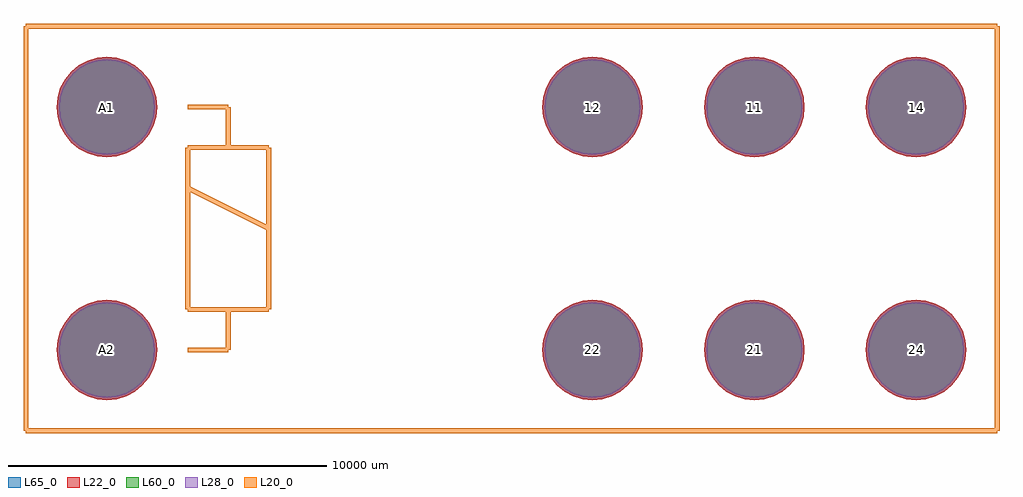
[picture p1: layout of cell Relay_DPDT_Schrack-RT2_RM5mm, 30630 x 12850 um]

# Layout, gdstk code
import gdstk
lib = gdstk.Library(unit=1e-6, precision=1e-09)
def P(c, l, *ps):  # polygons
    for p in ps: c.add(gdstk.Polygon(p, *l))
L20_0 = (20, 0)
L22_0 = (22, 0)
L28_0 = (28, 0)
L60_0 = (60, 0)
L65_0 = (65, 0)

relay_dpdt_schrack_rt2_r = lib.new_cell('Relay_DPDT_Schrack-RT2_RM5mm')
P(relay_dpdt_schrack_rt2_r, L22_0, [(26974.87,7620),(26944.609,7927.242),(26854.99,8222.677),(26709.457,8494.951),(26513.601,8733.601),(26274.951,8929.457),(26002.677,9074.99),(25707.242,9164.609),(25400,9194.87),(25092.758,9164.609),(24797.323,9074.99),(24525.049,8929.457),(24286.399,8733.601),(24090.543,8494.951),(23945.01,8222.677),(23855.391,7927.242),(23825.13,7620),(23855.391,7312.758),(23945.01,7017.323),(24090.543,6745.049),(24286.399,6506.399),(24525.049,6310.543),(24797.323,6165.01),(25092.758,6075.391),(25400,6045.13),(25707.242,6075.391),(26002.677,6165.01),(26274.951,6310.543),(26513.601,6506.399),(26709.457,6745.049),(26854.99,7017.323),(26944.609,7312.758)],
  [(21894.87,7620),(21864.609,7927.242),(21774.99,8222.677),(21629.457,8494.951),(21433.601,8733.601),(21194.951,8929.457),(20922.677,9074.99),(20627.242,9164.609),(20320,9194.87),(20012.758,9164.609),(19717.323,9074.99),(19445.049,8929.457),(19206.399,8733.601),(19010.543,8494.951),(18865.01,8222.677),(18775.391,7927.242),(18745.13,7620),(18775.391,7312.758),(18865.01,7017.323),(19010.543,6745.049),(19206.399,6506.399),(19445.049,6310.543),(19717.323,6165.01),(20012.758,6075.391),(20320,6045.13),(20627.242,6075.391),(20922.677,6165.01),(21194.951,6310.543),(21433.601,6506.399),(21629.457,6745.049),(21774.99,7017.323),(21864.609,7312.758)],
  [(16814.87,7620),(16784.609,7927.242),(16694.99,8222.677),(16549.457,8494.951),(16353.601,8733.601),(16114.951,8929.457),(15842.677,9074.99),(15547.242,9164.609),(15240,9194.87),(14932.758,9164.609),(14637.323,9074.99),(14365.049,8929.457),(14126.399,8733.601),(13930.543,8494.951),(13785.01,8222.677),(13695.391,7927.242),(13665.13,7620),(13695.391,7312.758),(13785.01,7017.323),(13930.543,6745.049),(14126.399,6506.399),(14365.049,6310.543),(14637.323,6165.01),(14932.758,6075.391),(15240,6045.13),(15547.242,6075.391),(15842.677,6165.01),(16114.951,6310.543),(16353.601,6506.399),(16549.457,6745.049),(16694.99,7017.323),(16784.609,7312.758)],
  [(26974.87,0),(26944.609,307.242),(26854.99,602.677),(26709.457,874.951),(26513.601,1113.601),(26274.951,1309.457),(26002.677,1454.99),(25707.242,1544.609),(25400,1574.87),(25092.758,1544.609),(24797.323,1454.99),(24525.049,1309.457),(24286.399,1113.601),(24090.543,874.951),(23945.01,602.677),(23855.391,307.242),(23825.13,0),(23855.391,-307.242),(23945.01,-602.677),(24090.543,-874.951),(24286.399,-1113.601),(24525.049,-1309.457),(24797.323,-1454.99),(25092.758,-1544.609),(25400,-1574.87),(25707.242,-1544.609),(26002.677,-1454.99),(26274.951,-1309.457),(26513.601,-1113.601),(26709.457,-874.951),(26854.99,-602.677),(26944.609,-307.242)],
  [(21894.87,0),(21864.609,307.242),(21774.99,602.677),(21629.457,874.951),(21433.601,1113.601),(21194.951,1309.457),(20922.677,1454.99),(20627.242,1544.609),(20320,1574.87),(20012.758,1544.609),(19717.323,1454.99),(19445.049,1309.457),(19206.399,1113.601),(19010.543,874.951),(18865.01,602.677),(18775.391,307.242),(18745.13,0),(18775.391,-307.242),(18865.01,-602.677),(19010.543,-874.951),(19206.399,-1113.601),(19445.049,-1309.457),(19717.323,-1454.99),(20012.758,-1544.609),(20320,-1574.87),(20627.242,-1544.609),(20922.677,-1454.99),(21194.951,-1309.457),(21433.601,-1113.601),(21629.457,-874.951),(21774.99,-602.677),(21864.609,-307.242)],
  [(16814.87,0),(16784.609,307.242),(16694.99,602.677),(16549.457,874.951),(16353.601,1113.601),(16114.951,1309.457),(15842.677,1454.99),(15547.242,1544.609),(15240,1574.87),(14932.758,1544.609),(14637.323,1454.99),(14365.049,1309.457),(14126.399,1113.601),(13930.543,874.951),(13785.01,602.677),(13695.391,307.242),(13665.13,0),(13695.391,-307.242),(13785.01,-602.677),(13930.543,-874.951),(14126.399,-1113.601),(14365.049,-1309.457),(14637.323,-1454.99),(14932.758,-1544.609),(15240,-1574.87),(15547.242,-1544.609),(15842.677,-1454.99),(16114.951,-1309.457),(16353.601,-1113.601),(16549.457,-874.951),(16694.99,-602.677),(16784.609,-307.242)],
  [(1574.87,0),(1544.609,307.242),(1454.99,602.677),(1309.457,874.951),(1113.601,1113.601),(874.951,1309.457),(602.677,1454.99),(307.242,1544.609),(0,1574.87),(-307.242,1544.609),(-602.677,1454.99),(-874.951,1309.457),(-1113.601,1113.601),(-1309.457,874.951),(-1454.99,602.677),(-1544.609,307.242),(-1574.87,0),(-1544.609,-307.242),(-1454.99,-602.677),(-1309.457,-874.951),(-1113.601,-1113.601),(-874.951,-1309.457),(-602.677,-1454.99),(-307.242,-1544.609),(0,-1574.87),(307.242,-1544.609),(602.677,-1454.99),(874.951,-1309.457),(1113.601,-1113.601),(1309.457,-874.951),(1454.99,-602.677),(1544.609,-307.242)],
  [(1574.87,7620),(1544.609,7927.242),(1454.99,8222.677),(1309.457,8494.951),(1113.601,8733.601),(874.951,8929.457),(602.677,9074.99),(307.242,9164.609),(0,9194.87),(-307.242,9164.609),(-602.677,9074.99),(-874.951,8929.457),(-1113.601,8733.601),(-1309.457,8494.951),(-1454.99,8222.677),(-1544.609,7927.242),(-1574.87,7620),(-1544.609,7312.758),(-1454.99,7017.323),(-1309.457,6745.049),(-1113.601,6506.399),(-874.951,6310.543),(-602.677,6165.01),(-307.242,6075.391),(0,6045.13),(307.242,6075.391),(602.677,6165.01),(874.951,6310.543),(1113.601,6506.399),(1309.457,6745.049),(1454.99,7017.323),(1544.609,7312.758)])
P(relay_dpdt_schrack_rt2_r, L28_0, [(26899.87,7620),(26871.05,7912.61),(26785.699,8193.975),(26647.096,8453.283),(26460.568,8680.568),(26233.283,8867.096),(25973.975,9005.699),(25692.61,9091.05),(25400,9119.87),(25107.39,9091.05),(24826.025,9005.699),(24566.717,8867.096),(24339.432,8680.568),(24152.904,8453.283),(24014.301,8193.975),(23928.95,7912.61),(23900.13,7620),(23928.95,7327.39),(24014.301,7046.025),(24152.904,6786.717),(24339.432,6559.432),(24566.717,6372.904),(24826.025,6234.301),(25107.39,6148.95),(25400,6120.13),(25692.61,6148.95),(25973.975,6234.301),(26233.283,6372.904),(26460.568,6559.432),(26647.096,6786.717),(26785.699,7046.025),(26871.05,7327.39)],
  [(21819.87,7620),(21791.05,7912.61),(21705.699,8193.975),(21567.096,8453.283),(21380.568,8680.568),(21153.283,8867.096),(20893.975,9005.699),(20612.61,9091.05),(20320,9119.87),(20027.39,9091.05),(19746.025,9005.699),(19486.717,8867.096),(19259.432,8680.568),(19072.904,8453.283),(18934.301,8193.975),(18848.95,7912.61),(18820.13,7620),(18848.95,7327.39),(18934.301,7046.025),(19072.904,6786.717),(19259.432,6559.432),(19486.717,6372.904),(19746.025,6234.301),(20027.39,6148.95),(20320,6120.13),(20612.61,6148.95),(20893.975,6234.301),(21153.283,6372.904),(21380.568,6559.432),(21567.096,6786.717),(21705.699,7046.025),(21791.05,7327.39)],
  [(16739.87,7620),(16711.05,7912.61),(16625.699,8193.975),(16487.096,8453.283),(16300.568,8680.568),(16073.283,8867.096),(15813.975,9005.699),(15532.61,9091.05),(15240,9119.87),(14947.39,9091.05),(14666.025,9005.699),(14406.717,8867.096),(14179.432,8680.568),(13992.904,8453.283),(13854.301,8193.975),(13768.95,7912.61),(13740.13,7620),(13768.95,7327.39),(13854.301,7046.025),(13992.904,6786.717),(14179.432,6559.432),(14406.717,6372.904),(14666.025,6234.301),(14947.39,6148.95),(15240,6120.13),(15532.61,6148.95),(15813.975,6234.301),(16073.283,6372.904),(16300.568,6559.432),(16487.096,6786.717),(16625.699,7046.025),(16711.05,7327.39)],
  [(26899.87,0),(26871.05,292.61),(26785.699,573.975),(26647.096,833.283),(26460.568,1060.568),(26233.283,1247.096),(25973.975,1385.699),(25692.61,1471.05),(25400,1499.87),(25107.39,1471.05),(24826.025,1385.699),(24566.717,1247.096),(24339.432,1060.568),(24152.904,833.283),(24014.301,573.975),(23928.95,292.61),(23900.13,0),(23928.95,-292.61),(24014.301,-573.975),(24152.904,-833.283),(24339.432,-1060.568),(24566.717,-1247.096),(24826.025,-1385.699),(25107.39,-1471.05),(25400,-1499.87),(25692.61,-1471.05),(25973.975,-1385.699),(26233.283,-1247.096),(26460.568,-1060.568),(26647.096,-833.283),(26785.699,-573.975),(26871.05,-292.61)],
  [(21819.87,0),(21791.05,292.61),(21705.699,573.975),(21567.096,833.283),(21380.568,1060.568),(21153.283,1247.096),(20893.975,1385.699),(20612.61,1471.05),(20320,1499.87),(20027.39,1471.05),(19746.025,1385.699),(19486.717,1247.096),(19259.432,1060.568),(19072.904,833.283),(18934.301,573.975),(18848.95,292.61),(18820.13,0),(18848.95,-292.61),(18934.301,-573.975),(19072.904,-833.283),(19259.432,-1060.568),(19486.717,-1247.096),(19746.025,-1385.699),(20027.39,-1471.05),(20320,-1499.87),(20612.61,-1471.05),(20893.975,-1385.699),(21153.283,-1247.096),(21380.568,-1060.568),(21567.096,-833.283),(21705.699,-573.975),(21791.05,-292.61)],
  [(16739.87,0),(16711.05,292.61),(16625.699,573.975),(16487.096,833.283),(16300.568,1060.568),(16073.283,1247.096),(15813.975,1385.699),(15532.61,1471.05),(15240,1499.87),(14947.39,1471.05),(14666.025,1385.699),(14406.717,1247.096),(14179.432,1060.568),(13992.904,833.283),(13854.301,573.975),(13768.95,292.61),(13740.13,0),(13768.95,-292.61),(13854.301,-573.975),(13992.904,-833.283),(14179.432,-1060.568),(14406.717,-1247.096),(14666.025,-1385.699),(14947.39,-1471.05),(15240,-1499.87),(15532.61,-1471.05),(15813.975,-1385.699),(16073.283,-1247.096),(16300.568,-1060.568),(16487.096,-833.283),(16625.699,-573.975),(16711.05,-292.61)],
  [(1499.87,0),(1471.05,292.61),(1385.699,573.975),(1247.096,833.283),(1060.568,1060.568),(833.283,1247.096),(573.975,1385.699),(292.61,1471.05),(0,1499.87),(-292.61,1471.05),(-573.975,1385.699),(-833.283,1247.096),(-1060.568,1060.568),(-1247.096,833.283),(-1385.699,573.975),(-1471.05,292.61),(-1499.87,0),(-1471.05,-292.61),(-1385.699,-573.975),(-1247.096,-833.283),(-1060.568,-1060.568),(-833.283,-1247.096),(-573.975,-1385.699),(-292.61,-1471.05),(0,-1499.87),(292.61,-1471.05),(573.975,-1385.699),(833.283,-1247.096),(1060.568,-1060.568),(1247.096,-833.283),(1385.699,-573.975),(1471.05,-292.61)],
  [(1499.87,7620),(1471.05,7912.61),(1385.699,8193.975),(1247.096,8453.283),(1060.568,8680.568),(833.283,8867.096),(573.975,9005.699),(292.61,9091.05),(0,9119.87),(-292.61,9091.05),(-573.975,9005.699),(-833.283,8867.096),(-1060.568,8680.568),(-1247.096,8453.283),(-1385.699,8193.975),(-1471.05,7912.61),(-1499.87,7620),(-1471.05,7327.39),(-1385.699,7046.025),(-1247.096,6786.717),(-1060.568,6559.432),(-833.283,6372.904),(-573.975,6234.301),(-292.61,6148.95),(0,6120.13),(292.61,6148.95),(573.975,6234.301),(833.283,6372.904),(1060.568,6559.432),(1247.096,6786.717),(1385.699,7046.025),(1471.05,7327.39)])
P(relay_dpdt_schrack_rt2_r, L60_0, [(26899.87,7620),(26871.05,7912.61),(26785.699,8193.975),(26647.096,8453.283),(26460.568,8680.568),(26233.283,8867.096),(25973.975,9005.699),(25692.61,9091.05),(25400,9119.87),(25107.39,9091.05),(24826.025,9005.699),(24566.717,8867.096),(24339.432,8680.568),(24152.904,8453.283),(24014.301,8193.975),(23928.95,7912.61),(23900.13,7620),(23928.95,7327.39),(24014.301,7046.025),(24152.904,6786.717),(24339.432,6559.432),(24566.717,6372.904),(24826.025,6234.301),(25107.39,6148.95),(25400,6120.13),(25692.61,6148.95),(25973.975,6234.301),(26233.283,6372.904),(26460.568,6559.432),(26647.096,6786.717),(26785.699,7046.025),(26871.05,7327.39)],
  [(21819.87,7620),(21791.05,7912.61),(21705.699,8193.975),(21567.096,8453.283),(21380.568,8680.568),(21153.283,8867.096),(20893.975,9005.699),(20612.61,9091.05),(20320,9119.87),(20027.39,9091.05),(19746.025,9005.699),(19486.717,8867.096),(19259.432,8680.568),(19072.904,8453.283),(18934.301,8193.975),(18848.95,7912.61),(18820.13,7620),(18848.95,7327.39),(18934.301,7046.025),(19072.904,6786.717),(19259.432,6559.432),(19486.717,6372.904),(19746.025,6234.301),(20027.39,6148.95),(20320,6120.13),(20612.61,6148.95),(20893.975,6234.301),(21153.283,6372.904),(21380.568,6559.432),(21567.096,6786.717),(21705.699,7046.025),(21791.05,7327.39)],
  [(16739.87,7620),(16711.05,7912.61),(16625.699,8193.975),(16487.096,8453.283),(16300.568,8680.568),(16073.283,8867.096),(15813.975,9005.699),(15532.61,9091.05),(15240,9119.87),(14947.39,9091.05),(14666.025,9005.699),(14406.717,8867.096),(14179.432,8680.568),(13992.904,8453.283),(13854.301,8193.975),(13768.95,7912.61),(13740.13,7620),(13768.95,7327.39),(13854.301,7046.025),(13992.904,6786.717),(14179.432,6559.432),(14406.717,6372.904),(14666.025,6234.301),(14947.39,6148.95),(15240,6120.13),(15532.61,6148.95),(15813.975,6234.301),(16073.283,6372.904),(16300.568,6559.432),(16487.096,6786.717),(16625.699,7046.025),(16711.05,7327.39)],
  [(26899.87,0),(26871.05,292.61),(26785.699,573.975),(26647.096,833.283),(26460.568,1060.568),(26233.283,1247.096),(25973.975,1385.699),(25692.61,1471.05),(25400,1499.87),(25107.39,1471.05),(24826.025,1385.699),(24566.717,1247.096),(24339.432,1060.568),(24152.904,833.283),(24014.301,573.975),(23928.95,292.61),(23900.13,0),(23928.95,-292.61),(24014.301,-573.975),(24152.904,-833.283),(24339.432,-1060.568),(24566.717,-1247.096),(24826.025,-1385.699),(25107.39,-1471.05),(25400,-1499.87),(25692.61,-1471.05),(25973.975,-1385.699),(26233.283,-1247.096),(26460.568,-1060.568),(26647.096,-833.283),(26785.699,-573.975),(26871.05,-292.61)],
  [(21819.87,0),(21791.05,292.61),(21705.699,573.975),(21567.096,833.283),(21380.568,1060.568),(21153.283,1247.096),(20893.975,1385.699),(20612.61,1471.05),(20320,1499.87),(20027.39,1471.05),(19746.025,1385.699),(19486.717,1247.096),(19259.432,1060.568),(19072.904,833.283),(18934.301,573.975),(18848.95,292.61),(18820.13,0),(18848.95,-292.61),(18934.301,-573.975),(19072.904,-833.283),(19259.432,-1060.568),(19486.717,-1247.096),(19746.025,-1385.699),(20027.39,-1471.05),(20320,-1499.87),(20612.61,-1471.05),(20893.975,-1385.699),(21153.283,-1247.096),(21380.568,-1060.568),(21567.096,-833.283),(21705.699,-573.975),(21791.05,-292.61)],
  [(16739.87,0),(16711.05,292.61),(16625.699,573.975),(16487.096,833.283),(16300.568,1060.568),(16073.283,1247.096),(15813.975,1385.699),(15532.61,1471.05),(15240,1499.87),(14947.39,1471.05),(14666.025,1385.699),(14406.717,1247.096),(14179.432,1060.568),(13992.904,833.283),(13854.301,573.975),(13768.95,292.61),(13740.13,0),(13768.95,-292.61),(13854.301,-573.975),(13992.904,-833.283),(14179.432,-1060.568),(14406.717,-1247.096),(14666.025,-1385.699),(14947.39,-1471.05),(15240,-1499.87),(15532.61,-1471.05),(15813.975,-1385.699),(16073.283,-1247.096),(16300.568,-1060.568),(16487.096,-833.283),(16625.699,-573.975),(16711.05,-292.61)],
  [(1499.87,0),(1471.05,292.61),(1385.699,573.975),(1247.096,833.283),(1060.568,1060.568),(833.283,1247.096),(573.975,1385.699),(292.61,1471.05),(0,1499.87),(-292.61,1471.05),(-573.975,1385.699),(-833.283,1247.096),(-1060.568,1060.568),(-1247.096,833.283),(-1385.699,573.975),(-1471.05,292.61),(-1499.87,0),(-1471.05,-292.61),(-1385.699,-573.975),(-1247.096,-833.283),(-1060.568,-1060.568),(-833.283,-1247.096),(-573.975,-1385.699),(-292.61,-1471.05),(0,-1499.87),(292.61,-1471.05),(573.975,-1385.699),(833.283,-1247.096),(1060.568,-1060.568),(1247.096,-833.283),(1385.699,-573.975),(1471.05,-292.61)],
  [(1499.87,7620),(1471.05,7912.61),(1385.699,8193.975),(1247.096,8453.283),(1060.568,8680.568),(833.283,8867.096),(573.975,9005.699),(292.61,9091.05),(0,9119.87),(-292.61,9091.05),(-573.975,9005.699),(-833.283,8867.096),(-1060.568,8680.568),(-1247.096,8453.283),(-1385.699,8193.975),(-1471.05,7912.61),(-1499.87,7620),(-1471.05,7327.39),(-1385.699,7046.025),(-1247.096,6786.717),(-1060.568,6559.432),(-833.283,6372.904),(-573.975,6234.301),(-292.61,6148.95),(0,6120.13),(292.61,6148.95),(573.975,6234.301),(833.283,6372.904),(1060.568,6559.432),(1247.096,6786.717),(1385.699,7046.025),(1471.05,7327.39)])
P(relay_dpdt_schrack_rt2_r, L65_0, [(26974.87,7620),(26944.609,7927.242),(26854.99,8222.677),(26709.457,8494.951),(26513.601,8733.601),(26274.951,8929.457),(26002.677,9074.99),(25707.242,9164.609),(25400,9194.87),(25092.758,9164.609),(24797.323,9074.99),(24525.049,8929.457),(24286.399,8733.601),(24090.543,8494.951),(23945.01,8222.677),(23855.391,7927.242),(23825.13,7620),(23855.391,7312.758),(23945.01,7017.323),(24090.543,6745.049),(24286.399,6506.399),(24525.049,6310.543),(24797.323,6165.01),(25092.758,6075.391),(25400,6045.13),(25707.242,6075.391),(26002.677,6165.01),(26274.951,6310.543),(26513.601,6506.399),(26709.457,6745.049),(26854.99,7017.323),(26944.609,7312.758)],
  [(21894.87,7620),(21864.609,7927.242),(21774.99,8222.677),(21629.457,8494.951),(21433.601,8733.601),(21194.951,8929.457),(20922.677,9074.99),(20627.242,9164.609),(20320,9194.87),(20012.758,9164.609),(19717.323,9074.99),(19445.049,8929.457),(19206.399,8733.601),(19010.543,8494.951),(18865.01,8222.677),(18775.391,7927.242),(18745.13,7620),(18775.391,7312.758),(18865.01,7017.323),(19010.543,6745.049),(19206.399,6506.399),(19445.049,6310.543),(19717.323,6165.01),(20012.758,6075.391),(20320,6045.13),(20627.242,6075.391),(20922.677,6165.01),(21194.951,6310.543),(21433.601,6506.399),(21629.457,6745.049),(21774.99,7017.323),(21864.609,7312.758)],
  [(16814.87,7620),(16784.609,7927.242),(16694.99,8222.677),(16549.457,8494.951),(16353.601,8733.601),(16114.951,8929.457),(15842.677,9074.99),(15547.242,9164.609),(15240,9194.87),(14932.758,9164.609),(14637.323,9074.99),(14365.049,8929.457),(14126.399,8733.601),(13930.543,8494.951),(13785.01,8222.677),(13695.391,7927.242),(13665.13,7620),(13695.391,7312.758),(13785.01,7017.323),(13930.543,6745.049),(14126.399,6506.399),(14365.049,6310.543),(14637.323,6165.01),(14932.758,6075.391),(15240,6045.13),(15547.242,6075.391),(15842.677,6165.01),(16114.951,6310.543),(16353.601,6506.399),(16549.457,6745.049),(16694.99,7017.323),(16784.609,7312.758)],
  [(26974.87,0),(26944.609,307.242),(26854.99,602.677),(26709.457,874.951),(26513.601,1113.601),(26274.951,1309.457),(26002.677,1454.99),(25707.242,1544.609),(25400,1574.87),(25092.758,1544.609),(24797.323,1454.99),(24525.049,1309.457),(24286.399,1113.601),(24090.543,874.951),(23945.01,602.677),(23855.391,307.242),(23825.13,0),(23855.391,-307.242),(23945.01,-602.677),(24090.543,-874.951),(24286.399,-1113.601),(24525.049,-1309.457),(24797.323,-1454.99),(25092.758,-1544.609),(25400,-1574.87),(25707.242,-1544.609),(26002.677,-1454.99),(26274.951,-1309.457),(26513.601,-1113.601),(26709.457,-874.951),(26854.99,-602.677),(26944.609,-307.242)],
  [(21894.87,0),(21864.609,307.242),(21774.99,602.677),(21629.457,874.951),(21433.601,1113.601),(21194.951,1309.457),(20922.677,1454.99),(20627.242,1544.609),(20320,1574.87),(20012.758,1544.609),(19717.323,1454.99),(19445.049,1309.457),(19206.399,1113.601),(19010.543,874.951),(18865.01,602.677),(18775.391,307.242),(18745.13,0),(18775.391,-307.242),(18865.01,-602.677),(19010.543,-874.951),(19206.399,-1113.601),(19445.049,-1309.457),(19717.323,-1454.99),(20012.758,-1544.609),(20320,-1574.87),(20627.242,-1544.609),(20922.677,-1454.99),(21194.951,-1309.457),(21433.601,-1113.601),(21629.457,-874.951),(21774.99,-602.677),(21864.609,-307.242)],
  [(16814.87,0),(16784.609,307.242),(16694.99,602.677),(16549.457,874.951),(16353.601,1113.601),(16114.951,1309.457),(15842.677,1454.99),(15547.242,1544.609),(15240,1574.87),(14932.758,1544.609),(14637.323,1454.99),(14365.049,1309.457),(14126.399,1113.601),(13930.543,874.951),(13785.01,602.677),(13695.391,307.242),(13665.13,0),(13695.391,-307.242),(13785.01,-602.677),(13930.543,-874.951),(14126.399,-1113.601),(14365.049,-1309.457),(14637.323,-1454.99),(14932.758,-1544.609),(15240,-1574.87),(15547.242,-1544.609),(15842.677,-1454.99),(16114.951,-1309.457),(16353.601,-1113.601),(16549.457,-874.951),(16694.99,-602.677),(16784.609,-307.242)],
  [(1574.87,0),(1544.609,307.242),(1454.99,602.677),(1309.457,874.951),(1113.601,1113.601),(874.951,1309.457),(602.677,1454.99),(307.242,1544.609),(0,1574.87),(-307.242,1544.609),(-602.677,1454.99),(-874.951,1309.457),(-1113.601,1113.601),(-1309.457,874.951),(-1454.99,602.677),(-1544.609,307.242),(-1574.87,0),(-1544.609,-307.242),(-1454.99,-602.677),(-1309.457,-874.951),(-1113.601,-1113.601),(-874.951,-1309.457),(-602.677,-1454.99),(-307.242,-1544.609),(0,-1574.87),(307.242,-1544.609),(602.677,-1454.99),(874.951,-1309.457),(1113.601,-1113.601),(1309.457,-874.951),(1454.99,-602.677),(1544.609,-307.242)],
  [(1574.87,7620),(1544.609,7927.242),(1454.99,8222.677),(1309.457,8494.951),(1113.601,8733.601),(874.951,8929.457),(602.677,9074.99),(307.242,9164.609),(0,9194.87),(-307.242,9164.609),(-602.677,9074.99),(-874.951,8929.457),(-1113.601,8733.601),(-1309.457,8494.951),(-1454.99,8222.677),(-1544.609,7927.242),(-1574.87,7620),(-1544.609,7312.758),(-1454.99,7017.323),(-1309.457,6745.049),(-1113.601,6506.399),(-874.951,6310.543),(-602.677,6165.01),(-307.242,6075.391),(0,6045.13),(307.242,6075.391),(602.677,6165.01),(874.951,6310.543),(1113.601,6506.399),(1309.457,6745.049),(1454.99,7017.323),(1544.609,7312.758)])
relay_dpdt_schrack_rt2_r.add(gdstk.FlexPath([(-2540,-2540),(-2540,10160)], 149.998, ends="flush", simple_path=True, layer=20, datatype=0))  # L20_0
relay_dpdt_schrack_rt2_r.add(gdstk.FlexPath([(27940,-2540),(-2540,-2540)], 149.998, ends="flush", simple_path=True, layer=20, datatype=0))  # L20_0
relay_dpdt_schrack_rt2_r.add(gdstk.FlexPath([(27940,10160),(27940,-2540)], 149.998, ends="flush", simple_path=True, layer=20, datatype=0))  # L20_0
relay_dpdt_schrack_rt2_r.add(gdstk.FlexPath([(-2540,10160),(27940,10160)], 149.998, ends="flush", simple_path=True, layer=20, datatype=0))  # L20_0
relay_dpdt_schrack_rt2_r.add(gdstk.FlexPath([(2540,6350),(3810,6350)], 149.998, ends="flush", simple_path=True, layer=20, datatype=0))  # L20_0
relay_dpdt_schrack_rt2_r.add(gdstk.FlexPath([(2540,1270),(2540,6350)], 149.998, ends="flush", simple_path=True, layer=20, datatype=0))  # L20_0
relay_dpdt_schrack_rt2_r.add(gdstk.FlexPath([(5080,1270),(2540,1270)], 149.998, ends="flush", simple_path=True, layer=20, datatype=0))  # L20_0
relay_dpdt_schrack_rt2_r.add(gdstk.FlexPath([(5080,6350),(5080,1270)], 149.998, ends="flush", simple_path=True, layer=20, datatype=0))  # L20_0
relay_dpdt_schrack_rt2_r.add(gdstk.FlexPath([(3810,6350),(5080,6350)], 149.998, ends="flush", simple_path=True, layer=20, datatype=0))  # L20_0
relay_dpdt_schrack_rt2_r.add(gdstk.FlexPath([(3810,7620),(3810,6350)], 149.998, ends="flush", simple_path=True, layer=20, datatype=0))  # L20_0
relay_dpdt_schrack_rt2_r.add(gdstk.FlexPath([(2540,7620),(3810,7620)], 149.998, ends="flush", simple_path=True, layer=20, datatype=0))  # L20_0
relay_dpdt_schrack_rt2_r.add(gdstk.FlexPath([(3810,0),(2540,0)], 149.998, ends="flush", simple_path=True, layer=20, datatype=0))  # L20_0
relay_dpdt_schrack_rt2_r.add(gdstk.FlexPath([(3810,1270),(3810,0)], 149.998, ends="flush", simple_path=True, layer=20, datatype=0))  # L20_0
relay_dpdt_schrack_rt2_r.add(gdstk.FlexPath([(2540,5080),(5080,3810)], 149.998, ends="flush", simple_path=True, layer=20, datatype=0))  # L20_0
relay_dpdt_schrack_rt2_r.add(gdstk.Label('14', (25400,7620), layer=28, texttype=0))
relay_dpdt_schrack_rt2_r.add(gdstk.Label('11', (20320,7620), layer=28, texttype=0))
relay_dpdt_schrack_rt2_r.add(gdstk.Label('12', (15240,7620), layer=28, texttype=0))
relay_dpdt_schrack_rt2_r.add(gdstk.Label('24', (25400,0), layer=28, texttype=0))
relay_dpdt_schrack_rt2_r.add(gdstk.Label('21', (20320,0), layer=28, texttype=0))
relay_dpdt_schrack_rt2_r.add(gdstk.Label('22', (15240,0), layer=28, texttype=0))
relay_dpdt_schrack_rt2_r.add(gdstk.Label('A2', (0,0), layer=28, texttype=0))
relay_dpdt_schrack_rt2_r.add(gdstk.Label('A1', (0,7620), layer=28, texttype=0))
relay_dpdt_schrack_rt2_r.add(gdstk.Label('type', (12700,-5080), layer=9, texttype=0))
relay_dpdt_schrack_rt2_r.add(gdstk.Label('devicename', (13970,11430), layer=9, texttype=0))

lib.write_gds('Relay_DPDT_Schrack-RT2_RM5mm.gds')
